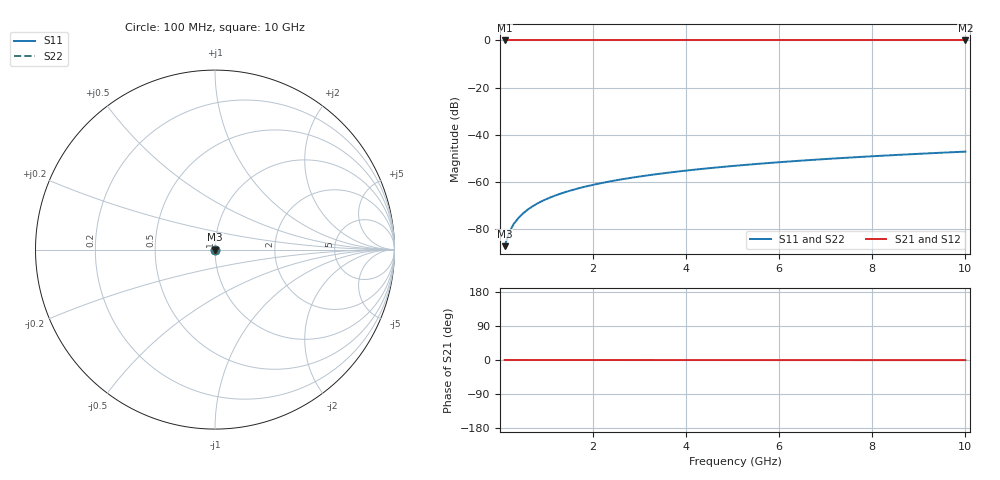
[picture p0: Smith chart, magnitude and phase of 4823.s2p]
# Hz S RI R 50.00
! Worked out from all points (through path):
!   100 points, 100 MHz to 10 GHz, reference 50 ohm
!   highest |S21| = 0.00 dB at 100 MHz (marker M1); lowest = 0.0 dB at 10 GHz (marker M2)
!   lowest |S11| = -87.4 dB at 100 MHz (marker M3), VSWR 1.00, Z = 50 - j0.00429 ohm
!   |S11| at or under -10 dB: start of sweep to end of sweep
!   |S22| runs from -87.4 to -47.2 dB; largest |S21 - S12| = 0
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1e8  5.83e-07 -4.29e-05  1 -5.11e-05  1 -5.11e-05  5.83e-07 -4.29e-05
2e8  5.38e-07 -8.57e-05  1 -0.000102  1 -0.000102  5.38e-07 -8.57e-05
3e8  4.87e-07 -0.000129  1 -0.000153  1 -0.000153  4.87e-07 -0.000129
4e8  4.3e-07 -0.000171  1 -0.000204  1 -0.000204  4.3e-07 -0.000171
5e8  3.68e-07 -0.000214  1 -0.000256  1 -0.000256  3.68e-07 -0.000214
6e8  3.02e-07 -0.000257  1 -0.000307  1 -0.000307  3.02e-07 -0.000257
7e8  2.31e-07 -0.0003  1 -0.000358  1 -0.000358  2.31e-07 -0.0003
8e8  1.55e-07 -0.000343  1 -0.000409  1 -0.000409  1.55e-07 -0.000343
1e9  -1.07e-08 -0.000429  1 -0.000511  1 -0.000511  -1.07e-08 -0.000429
1.2e9  -1.94e-07 -0.000515  1 -0.000614  1 -0.000614  -1.94e-07 -0.000515
1.5e9  -5.04e-07 -0.000644  1 -0.000768  1 -0.000768  -5.04e-07 -0.000644
1.8e9  -8.54e-07 -0.000773  1 -0.000922  1 -0.000922  -8.54e-07 -0.000773
2.1e9  -1.25e-06 -0.000902  1 -0.00108  1 -0.00108  -1.25e-06 -0.000902
2.5e9  -1.83e-06 -0.00107  1 -0.00128  1 -0.00128  -1.83e-06 -0.00107
2.9e9  -2.49e-06 -0.00125  1 -0.00149  1 -0.00149  -2.49e-06 -0.00125
3.4e9  -3.41e-06 -0.00146  1 -0.00175  1 -0.00175  -3.41e-06 -0.00146
4.2e9  -5.13e-06 -0.00181  1 -0.00216  1 -0.00216  -5.13e-06 -0.00181
5.1e9  -7.41e-06 -0.0022  1 -0.00263  1 -0.00263  -7.41e-06 -0.0022
5.9e9  -9.76e-06 -0.00255  1 -0.00305  1 -0.00305  -9.76e-06 -0.00255
6.7e9  -1.24e-05 -0.0029  1 -0.00346  1 -0.00346  -1.24e-05 -0.0029
8.4e9  -1.9e-05 -0.00365  1 -0.00436  1 -0.00436  -1.9e-05 -0.00365
1e10  -2.65e-05 -0.00436  1 -0.0052  1 -0.0052  -2.65e-05 -0.00436
